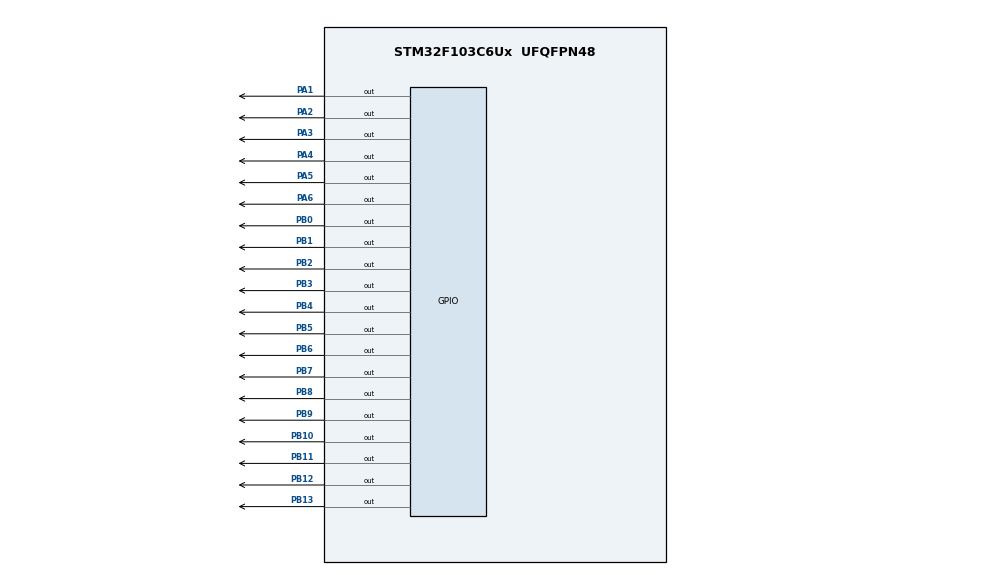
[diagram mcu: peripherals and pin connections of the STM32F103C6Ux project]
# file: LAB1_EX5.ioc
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Mcu.Family=STM32F1
Mcu.Name=STM32F103C6Ux
Mcu.Package=UFQFPN48
NVIC.PriorityGroup=NVIC_PRIORITYGROUP_4
PA1.Signal=GPIO_Output
PA2.Signal=GPIO_Output
PA3.Signal=GPIO_Output
PA4.Signal=GPIO_Output
PA5.Signal=GPIO_Output
PA6.Signal=GPIO_Output
PB0.Signal=GPIO_Output
PB1.Signal=GPIO_Output
PB10.Signal=GPIO_Output
PB11.Signal=GPIO_Output
PB12.Signal=GPIO_Output
PB13.Signal=GPIO_Output
PB2.Signal=GPIO_Output
PB3.Signal=GPIO_Output
PB4.Signal=GPIO_Output
PB5.Signal=GPIO_Output
PB6.Signal=GPIO_Output
PB7.Signal=GPIO_Output
PB8.Signal=GPIO_Output
PB9.Signal=GPIO_Output
ProjectManager.HeapSize=0x200
ProjectManager.StackSize=0x400
ProjectManager.TargetToolchain=STM32CubeIDE
RCC.APB1Freq_Value=8000000
RCC.APB2Freq_Value=8000000
VP_SYS_VS_ND.Mode=No_Debug
board=custom

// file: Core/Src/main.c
/* USER CODE BEGIN Header */
/**
  ******************************************************************************
  * @file           : main.c
  * @brief          : Main program body
  ******************************************************************************
  * @attention
  *
  * <h2><center>&copy; Copyright (c) 2025 STMicroelectronics.
  * All rights reserved.</center></h2>
  *
  * This software component is licensed by ST under BSD 3-Clause license,
  * the "License"; You may not use this file except in compliance with the
  * License. You may obtain a copy of the License at:
  *                        opensource.org/licenses/BSD-3-Clause
  *
  ******************************************************************************
  */
/* USER CODE END Header */
#include "main.h"

void SystemClock_Config(void);
static void MX_GPIO_Init(void);

int main(void)
{

  /* MCU Configuration--------------------------------------------------------*/

  /* Reset of all peripherals, Initializes the Flash interface and the Systick. */
  HAL_Init();

  /* Configure the system clock */
  SystemClock_Config();

  /* Initialize all configured peripherals */
  MX_GPIO_Init();

  /* Infinite loop */
  /* USER CODE BEGIN WHILE */
  void display7SEG_ngang(int num)
  {
      const uint8_t seg_table[10][7] = {
          {0,0,0,0,0,0,1},
          {1,0,0,1,1,1,1},
          {0,0,1,0,0,1,0},
          {0,0,0,0,1,1,0},
          {1,0,0,1,1,0,0},
          {0,1,0,0,1,0,0},
          {0,1,0,0,0,0,0},
          {0,0,0,1,1,1,1},
          {0,0,0,0,0,0,0},
          {0,0,0,0,1,0,0}
      };

      HAL_GPIO_WritePin(GPIOB, GPIO_PIN_0, seg_table[num][0] ? GPIO_PIN_SET : GPIO_PIN_RESET);
      HAL_GPIO_WritePin(GPIOB, GPIO_PIN_1, seg_table[num][1] ? GPIO_PIN_SET : GPIO_PIN_RESET);
      HAL_GPIO_WritePin(GPIOB, GPIO_PIN_2, seg_table[num][2] ? GPIO_PIN_SET : GPIO_PIN_RESET);
      HAL_GPIO_WritePin(GPIOB, GPIO_PIN_3, seg_table[num][3] ? GPIO_PIN_SET : GPIO_PIN_RESET);
      HAL_GPIO_WritePin(GPIOB, GPIO_PIN_4, seg_table[num][4] ? GPIO_PIN_SET : GPIO_PIN_RESET);
      HAL_GPIO_WritePin(GPIOB, GPIO_PIN_5, seg_table[num][5] ? GPIO_PIN_SET : GPIO_PIN_RESET);
      HAL_GPIO_WritePin(GPIOB, GPIO_PIN_6, seg_table[num][6] ? GPIO_PIN_SET : GPIO_PIN_RESET);
  }

  void display7SEG_doc(int num)
  {
      const uint8_t seg_table[10][7] = {
          {0,0,0,0,0,0,1},
          {1,0,0,1,1,1,1},
          {0,0,1,0,0,1,0},
          {0,0,0,0,1,1,0},
          {1,0,0,1,1,0,0},
          {0,1,0,0,1,0,0},
          {0,1,0,0,0,0,0},
          {0,0,0,1,1,1,1},
          {0,0,0,0,0,0,0},
          {0,0,0,0,1,0,0}
      };

      HAL_GPIO_WritePin(GPIOB, GPIO_PIN_7, seg_table[num][0] ? GPIO_PIN_SET : GPIO_PIN_RESET);
      HAL_GPIO_WritePin(GPIOB, GPIO_PIN_8, seg_table[num][1] ? GPIO_PIN_SET : GPIO_PIN_RESET);
      HAL_GPIO_WritePin(GPIOB, GPIO_PIN_9, seg_table[num][2] ? GPIO_PIN_SET : GPIO_PIN_RESET);
      HAL_GPIO_WritePin(GPIOB, GPIO_PIN_10, seg_table[num][3] ? GPIO_PIN_SET : GPIO_PIN_RESET);
      HAL_GPIO_WritePin(GPIOB, GPIO_PIN_11, seg_table[num][4] ? GPIO_PIN_SET : GPIO_PIN_RESET);
      HAL_GPIO_WritePin(GPIOB, GPIO_PIN_12, seg_table[num][5] ? GPIO_PIN_SET : GPIO_PIN_RESET);
      HAL_GPIO_WritePin(GPIOB, GPIO_PIN_13, seg_table[num][6] ? GPIO_PIN_SET : GPIO_PIN_RESET);
  }

  while (1)
  {
	    HAL_GPIO_WritePin(GPIOA, GPIO_PIN_1|GPIO_PIN_2, GPIO_PIN_SET);
	    HAL_GPIO_WritePin(GPIOA, GPIO_PIN_3, GPIO_PIN_RESET);
	    HAL_GPIO_WritePin(GPIOA, GPIO_PIN_4, GPIO_PIN_RESET);
	    HAL_GPIO_WritePin(GPIOA, GPIO_PIN_5|GPIO_PIN_6, GPIO_PIN_SET);
	    for (int i = 3, j = 5; i > 0; i--, j--) {
	        display7SEG_ngang(i);
	        display7SEG_doc(j);
	        HAL_Delay(1000);
	    }

	    HAL_GPIO_WritePin(GPIOA, GPIO_PIN_1|GPIO_PIN_3, GPIO_PIN_SET);
	    HAL_GPIO_WritePin(GPIOA, GPIO_PIN_2, GPIO_PIN_RESET);
	    HAL_GPIO_WritePin(GPIOA, GPIO_PIN_4, GPIO_PIN_RESET);
	    HAL_GPIO_WritePin(GPIOA, GPIO_PIN_5|GPIO_PIN_6, GPIO_PIN_SET);
	    for (int i = 2, j = 2; i > 0; i--, j--) {
	        display7SEG_ngang(i);
	        display7SEG_doc(j);
	        HAL_Delay(1000);
	    }

	    HAL_GPIO_WritePin(GPIOA, GPIO_PIN_1, GPIO_PIN_RESET);
	    HAL_GPIO_WritePin(GPIOA, GPIO_PIN_2|GPIO_PIN_3, GPIO_PIN_SET);
	    HAL_GPIO_WritePin(GPIOA, GPIO_PIN_4|GPIO_PIN_5, GPIO_PIN_SET);
	    HAL_GPIO_WritePin(GPIOA, GPIO_PIN_6, GPIO_PIN_RESET);
	    for (int i = 3, j = 5; i > 0; i--, j--) {
	        display7SEG_doc(i);
	        display7SEG_ngang(j);
	        HAL_Delay(1000);
	    }

	    HAL_GPIO_WritePin(GPIOA, GPIO_PIN_1, GPIO_PIN_RESET);
	    HAL_GPIO_WritePin(GPIOA, GPIO_PIN_2|GPIO_PIN_3, GPIO_PIN_SET);
	    HAL_GPIO_WritePin(GPIOA, GPIO_PIN_4|GPIO_PIN_6, GPIO_PIN_SET);
	    HAL_GPIO_WritePin(GPIOA, GPIO_PIN_5, GPIO_PIN_RESET);
	    for (int i = 2, j = 2; i > 0; i--, j--) {
	        display7SEG_doc(i);
	        display7SEG_ngang(j);
	        HAL_Delay(1000);
	    }
    /* USER CODE END WHILE */

  }
}

void SystemClock_Config(void)
{
  RCC_OscInitTypeDef RCC_OscInitStruct = {0};
  RCC_ClkInitTypeDef RCC_ClkInitStruct = {0};

  /** Initializes the RCC Oscillators according to the specified parameters
  * in the RCC_OscInitTypeDef structure.
  */
  RCC_OscInitStruct.OscillatorType = RCC_OSCILLATORTYPE_HSI;
  RCC_OscInitStruct.HSIState = RCC_HSI_ON;
  RCC_OscInitStruct.HSICalibrationValue = RCC_HSICALIBRATION_DEFAULT;
  RCC_OscInitStruct.PLL.PLLState = RCC_PLL_NONE;
  if (HAL_RCC_OscConfig(&RCC_OscInitStruct) != HAL_OK)
  {
    Error_Handler();
  }
  /** Initializes the CPU, AHB and APB buses clocks
  */
  RCC_ClkInitStruct.ClockType = RCC_CLOCKTYPE_HCLK|RCC_CLOCKTYPE_SYSCLK
                              |RCC_CLOCKTYPE_PCLK1|RCC_CLOCKTYPE_PCLK2;
  RCC_ClkInitStruct.SYSCLKSource = RCC_SYSCLKSOURCE_HSI;
  RCC_ClkInitStruct.AHBCLKDivider = RCC_SYSCLK_DIV1;
  RCC_ClkInitStruct.APB1CLKDivider = RCC_HCLK_DIV1;
  RCC_ClkInitStruct.APB2CLKDivider = RCC_HCLK_DIV1;

  if (HAL_RCC_ClockConfig(&RCC_ClkInitStruct, FLASH_LATENCY_0) != HAL_OK)
  {
    Error_Handler();
  }
}

static void MX_GPIO_Init(void)
{
  GPIO_InitTypeDef GPIO_InitStruct = {0};

  /* GPIO Ports Clock Enable */
  __HAL_RCC_GPIOA_CLK_ENABLE();
  __HAL_RCC_GPIOB_CLK_ENABLE();

  /*Configure GPIO pin Output Level */
  HAL_GPIO_WritePin(GPIOA, GPIO_PIN_1|GPIO_PIN_2|GPIO_PIN_3|GPIO_PIN_4
                          |GPIO_PIN_5|GPIO_PIN_6, GPIO_PIN_RESET);

  /*Configure GPIO pin Output Level */
  HAL_GPIO_WritePin(GPIOB, GPIO_PIN_0|GPIO_PIN_1|GPIO_PIN_2|GPIO_PIN_10
                          |GPIO_PIN_11|GPIO_PIN_12|GPIO_PIN_13|GPIO_PIN_3
                          |GPIO_PIN_4|GPIO_PIN_5|GPIO_PIN_6|GPIO_PIN_7
                          |GPIO_PIN_8|GPIO_PIN_9, GPIO_PIN_RESET);

  /*Configure GPIO pins : PA1 PA2 PA3 PA4
                           PA5 PA6 */
  GPIO_InitStruct.Pin = GPIO_PIN_1|GPIO_PIN_2|GPIO_PIN_3|GPIO_PIN_4
                          |GPIO_PIN_5|GPIO_PIN_6;
  GPIO_InitStruct.Mode = GPIO_MODE_OUTPUT_PP;
  GPIO_InitStruct.Pull = GPIO_NOPULL;
  GPIO_InitStruct.Speed = GPIO_SPEED_FREQ_LOW;
  HAL_GPIO_Init(GPIOA, &GPIO_InitStruct);

  /*Configure GPIO pins : PB0 PB1 PB2 PB10
                           PB11 PB12 PB13 PB3
                           PB4 PB5 PB6 PB7
                           PB8 PB9 */
  GPIO_InitStruct.Pin = GPIO_PIN_0|GPIO_PIN_1|GPIO_PIN_2|GPIO_PIN_10
                          |GPIO_PIN_11|GPIO_PIN_12|GPIO_PIN_13|GPIO_PIN_3
                          |GPIO_PIN_4|GPIO_PIN_5|GPIO_PIN_6|GPIO_PIN_7
                          |GPIO_PIN_8|GPIO_PIN_9;
  GPIO_InitStruct.Mode = GPIO_MODE_OUTPUT_PP;
  GPIO_InitStruct.Pull = GPIO_NOPULL;
  GPIO_InitStruct.Speed = GPIO_SPEED_FREQ_LOW;
  HAL_GPIO_Init(GPIOB, &GPIO_InitStruct);

}

void Error_Handler(void)
{
  __disable_irq();
  while (1)
  {
  }
}

/************************ (C) COPYRIGHT STMicroelectronics *****END OF FILE****/
